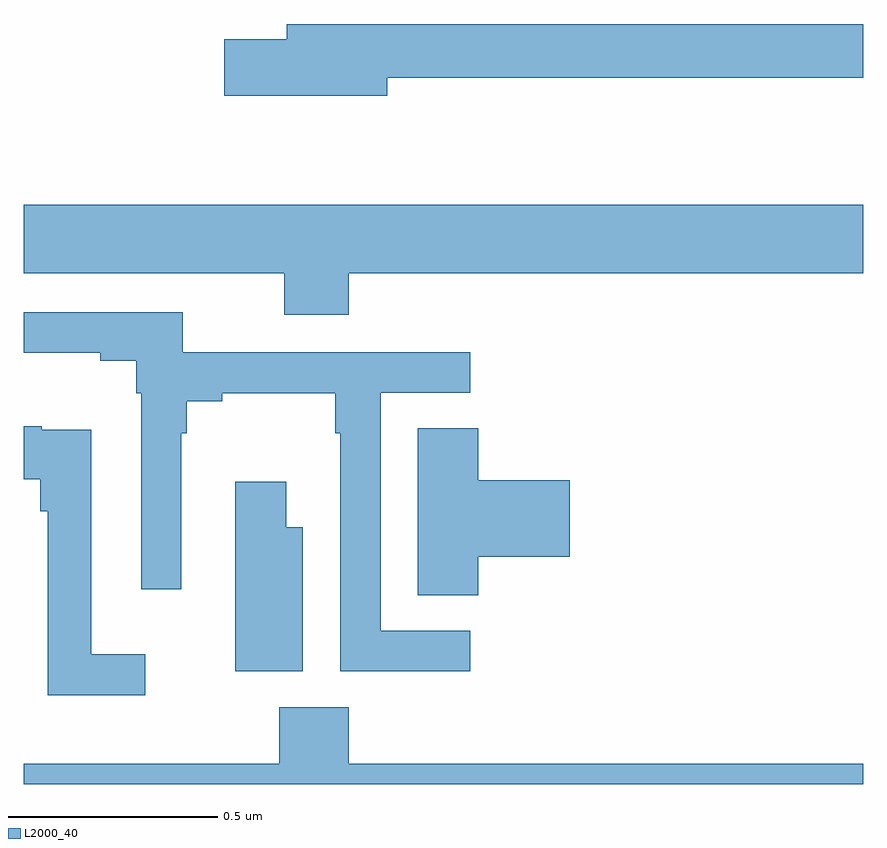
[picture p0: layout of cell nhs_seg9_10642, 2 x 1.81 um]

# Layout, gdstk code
import gdstk
lib = gdstk.Library(unit=1e-6, precision=1e-09)
def P(c, l, *ps):  # polygons
    for p in ps: c.add(gdstk.Polygon(p, *l))
L2000_40 = (2000, 40)

nhs_seg9_10642 = lib.new_cell('nhs_seg9_10642')
P(nhs_seg9_10642, L2000_40, [(245.866,1234.182),(247,1234.182),(247,1234.31),(245.627,1234.31),(245.627,1234.274),(245.478,1234.274),(245.478,1234.139),(245.866,1234.139)],
  [(245.774,1233.716),(247,1233.716),(247,1233.88),(245,1233.88),(245,1233.716),(245.621,1233.716),(245.621,1233.617),(245.774,1233.617)],
  [(246.064,1232.865),(245.85,1232.865),(245.85,1233.432),(246.064,1233.432),(246.064,1233.528),(245.379,1233.528),(245.379,1233.624),(245,1233.624),(245,1233.527),(245.183,1233.527),(245.183,1233.508),(245.268,1233.508),(245.268,1233.431),(245.28,1233.431),(245.28,1232.964),(245.376,1232.964),(245.376,1233.335),(245.389,1233.335),(245.389,1233.412),(245.473,1233.412),(245.473,1233.431),(245.742,1233.431),(245.742,1233.335),(245.754,1233.335),(245.754,1232.769),(246.064,1232.769)],
  [(245.29,1232.809),(245.161,1232.809),(245.161,1233.344),(245.043,1233.344),(245.043,1233.352),(245,1233.352),(245,1233.226),(245.04,1233.226),(245.04,1233.149),(245.057,1233.149),(245.057,1232.711),(245.29,1232.711)],
  [(246.083,1233.041),(246.301,1233.041),(246.301,1233.224),(246.083,1233.224),(246.083,1233.347),(245.939,1233.347),(245.939,1232.95),(246.083,1232.95)],
  [(245.665,1233.112),(245.626,1233.112),(245.626,1233.22),(245.504,1233.22),(245.504,1232.769),(245.665,1232.769)],
  [(247,1232.548),(245.774,1232.548),(245.774,1232.683),(245.609,1232.683),(245.609,1232.548),(245,1232.548),(245,1232.5),(247,1232.5)])

lib.write_gds('nhs_seg9_10642.gds')
